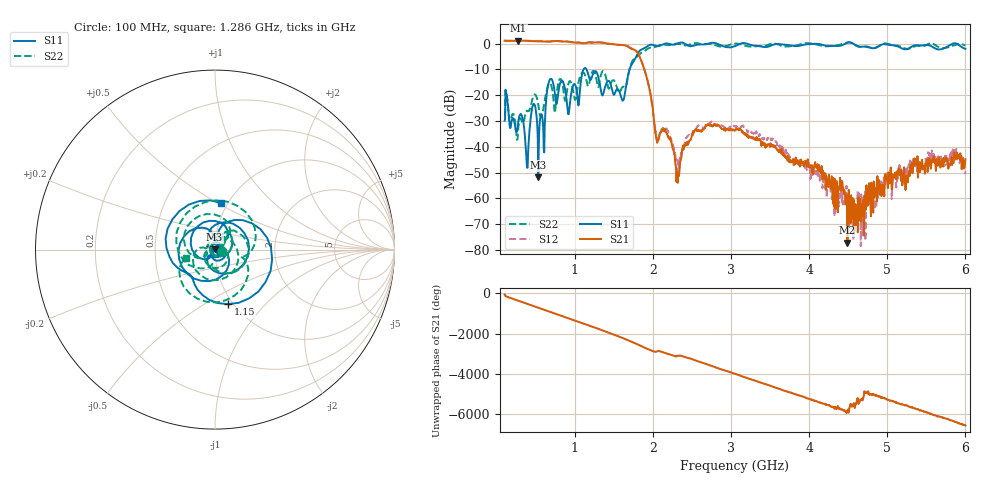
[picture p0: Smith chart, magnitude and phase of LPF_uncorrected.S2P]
!Created with skrf (http://scikit-rf.org).
# MHz S RI R 50.0
!freq ReS11 ImS11 ReS21 ImS21 ReS12 ImS12 ReS22 ImS22
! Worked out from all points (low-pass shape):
!   1001 points, 100 MHz to 6 GHz, reference 50 ohm
!   highest |S21| = 1.13 dB at 277 MHz (marker M1); lowest = -77.1 dB at 4.49 GHz (marker M2)
!   |S21| within 3 dB of the highest: start of sweep to 1.71 GHz
!   lowest |S11| = -51.8 dB at 530.7 MHz (marker M3), VSWR 1.01, Z = 49.8 + j0.0758 ohm
!   |S11| at or under -10 dB: start of sweep to 1.111 GHz; 1.148 GHz to 1.7 GHz (551.8 MHz wide, 38.8 % of centre)
!   |S22| runs from -37.3 to 0.5 dB; largest |S21 - S12| = 0.36
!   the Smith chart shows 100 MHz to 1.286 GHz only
!   S11 on the Smith chart (normalised r, x): 100 MHz: 1.06, -0.02; 1.15 GHz: 0.95, -0.64; 1.286 GHz: 0.93, +0.52
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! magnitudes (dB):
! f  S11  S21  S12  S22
! 100 MHz  -29.9  1.1  1.1  -28.1
! 277 MHz  -29.9  1.1  1.2  -32.0
! 383.2 MHz  -46.5  1.0  1.1  -26.0
! 465.8 MHz  -23.6  0.9  1.0  -20.7
! 530.7 MHz  -51.8  0.8  1.0  -23.5
! 684.1 MHz  -13.8  0.7  0.9  -15.4
! 920.1 MHz  -27.4  0.7  0.6  -15.2
! 1.085 GHz  -12.9  0.2  0.1  -11.5
! 1.15 GHz  -10.1  0.3  0.3  -14.5
! 1.286 GHz  -11.6  0.4  0.5  -15.6
! 1.61 GHz  -22.2  -0.6  -0.5  -16.8
! 1.805 GHz  -3.9  -3.7  -3.4  -4.8
! 2.071 GHz  -1.0  -37.3  -36.6  -0.8
! 2.318 GHz  0.1  -53.9  -46.5  -0.1
! 2.543 GHz  -0.7  -33.5  -33.3  0.1
! 3.05 GHz  -1.0  -33.7  -32.1  0.0
! 4.035 GHz  -0.2  -47.1  -50.3  0.0
! 4.49 GHz  0.3  -77.1  -62.2  0.4
! 4.69 GHz  -1.2  -61.9  -68.1  -1.3
! 5.021 GHz  -0.5  -51.7  -54.2  -0.3
! 5.835 GHz  -0.1  -44.4  -42.0  -1.0
! 6 GHz  -2.1  -44.8  -50.6  -0.8
